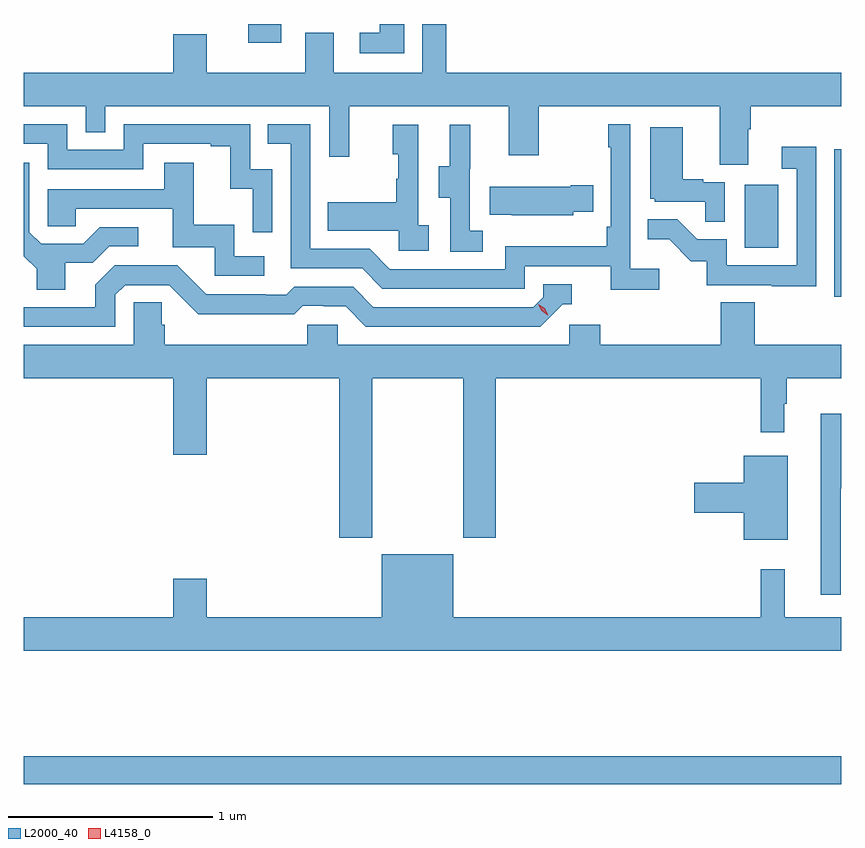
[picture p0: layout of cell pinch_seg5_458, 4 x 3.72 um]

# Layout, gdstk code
import gdstk
lib = gdstk.Library(unit=1e-6, precision=1e-09)
def R(c, l, rs):  # rectangles x0, y0, x1, y1
    for r in rs: c.add(gdstk.rectangle(r[:2], r[2:], *l))
def P(c, l, *ps):  # polygons
    for p in ps: c.add(gdstk.Polygon(p, *l))
L2000_40 = (2000, 40)
L4158_0 = (4158, 0)

pinch_seg5_458 = lib.new_cell('pinch_seg5_458')
R(pinch_seg5_458, L2000_40, [(943.496,853.444,947.496,853.58), (947.462,855.828,947.496,856.549), (947.024,856.068,947.188,856.375), (944.594,857.07,944.755,857.162)])
P(pinch_seg5_458, L2000_40, [(945.358,857.162),(945.239,857.162),(945.239,857.119),(945.141,857.119),(945.141,857.018),(945.358,857.018)],
  [(947.041,856.648),(947.054,856.648),(947.054,856.76),(947.496,856.76),(947.496,856.924),(945.563,856.924),(945.563,857.162),(945.447,857.162),(945.447,856.924),(945.013,856.924),(945.013,857.119),(944.873,857.119),(944.873,856.924),(944.392,856.924),(944.392,857.113),(944.228,857.113),(944.228,856.924),(943.496,856.924),(943.496,856.76),(943.8,856.76),(943.8,856.633),(943.896,856.633),(943.896,856.76),(944.991,856.76),(944.991,856.512),(945.089,856.512),(945.089,856.76),(945.869,856.76),(945.869,856.521),(946.017,856.521),(946.017,856.76),(946.901,856.76),(946.901,856.474),(947.041,856.474)],
  [(946.606,855.964),(946.464,855.964),(946.464,856.672),(946.356,856.672),(946.356,856.559),(946.368,856.559),(946.368,856.171),(946.348,856.171),(946.348,856.075),(945.852,856.075),(945.852,855.963),(945.288,855.963),(945.189,856.062),(944.898,856.062),(944.898,856.671),(944.689,856.671),(944.689,856.575),(944.802,856.575),(944.802,855.966),(945.152,855.966),(945.251,855.867),(945.948,855.867),(945.948,855.978),(946.367,855.978),(946.367,855.862),(946.606,855.862)],
  [(944.712,856.452),(944.604,856.452),(944.604,856.671),(943.986,856.671),(943.986,856.548),(943.71,856.548),(943.71,856.671),(943.496,856.671),(943.496,856.575),(943.614,856.575),(943.614,856.452),(944.082,856.452),(944.082,856.575),(944.411,856.575),(944.411,856.563),(944.507,856.563),(944.507,856.355),(944.616,856.355),(944.616,856.143),(944.712,856.143)],
  [(945.742,856.151),(945.678,856.151),(945.678,856.455),(945.68,856.455),(945.68,856.669),(945.581,856.669),(945.581,856.467),(945.527,856.467),(945.527,856.312),(945.582,856.312),(945.582,856.048),(945.742,856.048)],
  [(945.478,856.178),(945.426,856.178),(945.426,856.669),(945.302,856.669),(945.302,856.524),(945.328,856.524),(945.328,856.406),(945.318,856.406),(945.318,856.291),(944.983,856.291),(944.983,856.151),(945.33,856.151),(945.33,856.053),(945.478,856.053)],
  [(946.926,856.389),(946.82,856.389),(946.82,856.402),(946.72,856.402),(946.72,856.657),(946.562,856.657),(946.562,856.308),(946.584,856.308),(946.584,856.293),(946.831,856.293),(946.831,856.195),(946.926,856.195)],
  [(947.373,856.561),(947.205,856.561),(947.205,856.455),(947.277,856.455),(947.277,855.981),(946.935,855.981),(946.935,856.11),(946.791,856.11),(946.693,856.208),(946.549,856.208),(946.549,856.109),(946.653,856.109),(946.76,856.002),(946.837,856.002),(946.837,855.885),(947.155,855.885),(947.155,855.88),(947.373,855.88)],
  [(943.699,855.994),(943.834,855.994),(943.914,856.074),(944.056,856.074),(944.056,856.167),(943.868,856.167),(943.787,856.086),(943.581,856.086),(943.524,856.143),(943.524,856.483),(943.496,856.483),(943.496,856.027),(943.559,855.964),(943.559,855.862),(943.699,855.862)],
  [(944.674,856.026),(944.526,856.026),(944.526,856.18),(944.327,856.18),(944.327,856.483),(944.183,856.483),(944.183,856.353),(943.614,856.353),(943.614,856.173),(943.751,856.173),(943.751,856.257),(944.225,856.257),(944.225,856.071),(944.43,856.071),(944.43,855.93),(944.674,855.93)],
  [(946.185,856.244),(946.283,856.244),(946.283,856.374),(946.172,856.374),(946.172,856.366),(945.775,856.366),(945.775,856.229),(945.883,856.229),(945.883,856.226),(946.185,856.226)],
  [(943.944,855.837),(943.992,855.885),(944.208,855.885),(944.35,855.743),(944.586,855.743),(944.586,855.741),(944.819,855.741),(944.861,855.783),(944.964,855.783),(944.964,855.78),(945.071,855.78),(945.17,855.681),(946.023,855.681),(946.134,855.792),(946.177,855.792),(946.177,855.888),(946.038,855.888),(946.038,855.825),(945.99,855.777),(945.207,855.777),(945.108,855.876),(944.819,855.876),(944.78,855.837),(944.681,855.837),(944.681,855.84),(944.388,855.84),(944.247,855.981),(943.941,855.981),(943.847,855.887),(943.847,855.777),(943.496,855.777),(943.496,855.681),(943.944,855.681)],
  [(945.201,855.428),(945.646,855.428),(945.646,854.649),(945.806,854.649),(945.806,855.428),(947.101,855.428),(947.101,855.165),(947.218,855.165),(947.218,855.305),(947.23,855.305),(947.23,855.428),(947.496,855.428),(947.496,855.592),(947.072,855.592),(947.072,855.8),(946.907,855.8),(946.907,855.592),(946.316,855.592),(946.316,855.69),(946.164,855.69),(946.164,855.592),(945.033,855.592),(945.033,855.69),(944.883,855.69),(944.883,855.592),(944.186,855.592),(944.186,855.69),(944.171,855.69),(944.171,855.8),(944.034,855.8),(944.034,855.592),(943.496,855.592),(943.496,855.428),(944.228,855.428),(944.228,855.054),(944.392,855.054),(944.392,855.428),(945.041,855.428),(945.041,854.649),(945.201,854.649)],
  [(947.493,854.891),(947.496,854.891),(947.496,855.256),(947.396,855.256),(947.396,854.37),(947.493,854.37)],
  [(947.233,855.049),(947.018,855.049),(947.018,854.918),(946.776,854.918),(946.776,854.771),(947.018,854.771),(947.018,854.639),(947.233,854.639)],
  [(947.496,854.26),(947.219,854.26),(947.219,854.494),(947.101,854.494),(947.101,854.26),(945.598,854.26),(945.598,854.569),(945.248,854.569),(945.248,854.26),(944.392,854.26),(944.392,854.449),(944.228,854.449),(944.228,854.26),(943.496,854.26),(943.496,854.096),(947.496,854.096)])
P(pinch_seg5_458, L4158_0, [(946.061,855.738),(946.03,855.758),(946.014,855.791),(946.014,855.792),(946.014,855.792),(946.045,855.772),(946.061,855.739),(946.061,855.738)])

lib.write_gds('pinch_seg5_458.gds')
